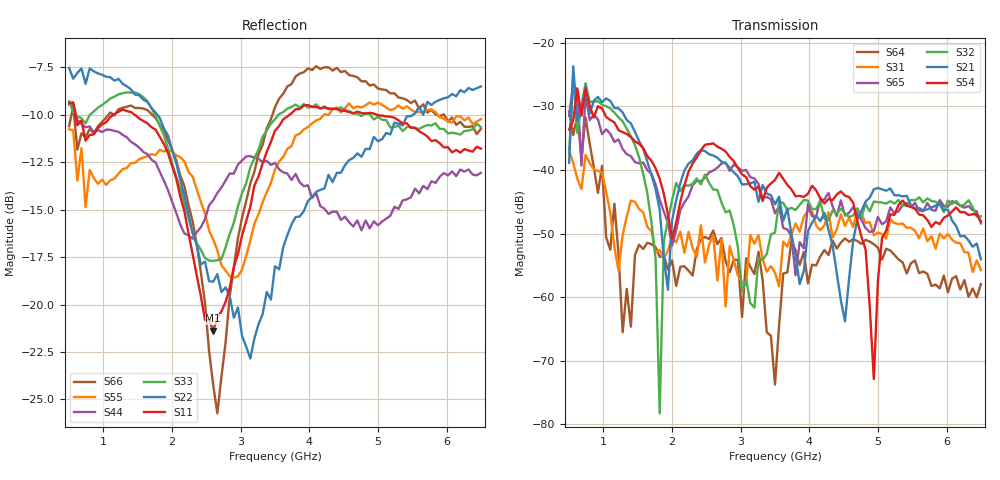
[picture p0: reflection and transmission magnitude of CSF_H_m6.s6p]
!Keysight Technologies,M9804A,MY58100912,A.14.10.03
!Date: Thursday, April 27, 2023 10:28:33
!Correction: S11(C  6-Port  )
!S12(C  6-Port  )
!S13(C  6-Port  )
!S14(C  6-Port  )
!S15(C  6-Port  )
!S16(C  6-Port  )
!S21(C  6-Port  )
!S22(C  6-Port  )
!S23(C  6-Port  )
!S24(C  6-Port  )
!S25(C  6-Port  )
!S26(C  6-Port  )
!S31(C  6-Port  )
!S32(C  6-Port  )
!S33(C  6-Port  )
!S34(C  6-Port  )
!S35(C  6-Port  )
!S36(C  6-Port  )
!S41(C  6-Port  )
!S42(C  6-Port  )
!S43(C  6-Port  )
!S44(C  6-Port  )
!S45(C  6-Port  )
!S46(C  6-Port  )
!S51(C  6-Port  )
!S52(C  6-Port  )
!S53(C  6-Port  )
!S54(C  6-Port  )
!S55(C  6-Port  )
!S56(C  6-Port  )
!S61(C  6-Port  )
!S62(C  6-Port  )
!S63(C  6-Port  )
!S64(C  6-Port  )
!S65(C  6-Port  )
!S66(C  6-Port  )
!S6P File: Measurement: :
# Hz S  RI  R 50
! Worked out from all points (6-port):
!   101 points, 500 MHz to 6.5 GHz, reference 50 ohm
!   strongest paths, dB at 500 MHz, 2 GHz, 3.5 GHz, 5 GHz, 6.5 GHz:
!     S54: -33.7, -50.8, -41.6, -57.4, -48.1
!     S21: -38.9, -48.0, -45.4, -42.8, -54.1
!     S32: -37.4, -44.8, -49.9, -45.1, -47.3
!     S65: -31.5, -51.9, -46.8, -47.4, -48.4
!     S31: -36.9, -50.6, -56.1, -49.9, -55.7
!     S64: -30.8, -54.2, -73.7, -52.2, -57.9
!   lowest |S11| = -21.4 dB at 2.6 GHz (marker M1), VSWR 1.19, Z = 42.4 + j2.29 ohm
!   |S11| at or under -10 dB: 592.7 MHz to 1.146 GHz (553 MHz wide, 63.6 % of centre); 1.46 GHz to 3.71 GHz (2.25 GHz wide, 87.1 % of centre); 4.988 GHz to end of sweep
